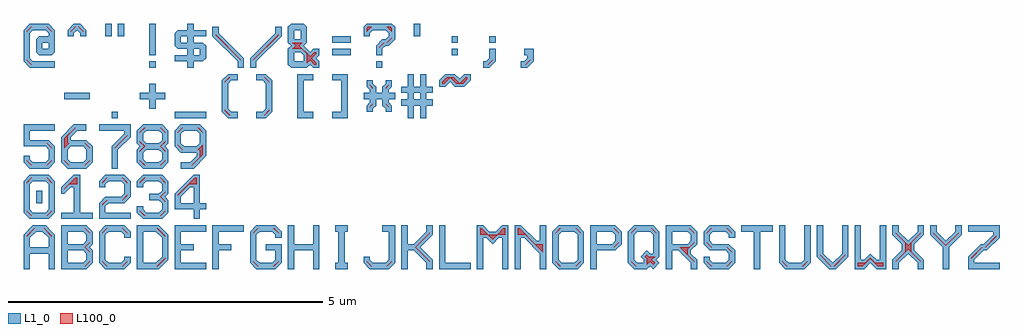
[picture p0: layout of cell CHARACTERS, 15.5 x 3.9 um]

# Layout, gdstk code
import gdstk
lib = gdstk.Library(unit=1e-6, precision=1e-09)
def R(c, l, rs):  # rectangles x0, y0, x1, y1
    for r in rs: c.add(gdstk.rectangle(r[:2], r[2:], *l))
def P(c, l, *ps):  # polygons
    for p in ps: c.add(gdstk.Polygon(p, *l))
L1_0 = (1, 0)
L100_0 = (100, 0)

c_0 = lib.new_cell('0')
R(c_0, L1_0, [(0.2,0.25,0.3,0.45)])
P(c_0, L1_0, [(0.1,0),(0,0.1),(0,0.6),(0.1,0.7),(0.4,0.7),(0.5,0.6),(0.15,0.6),(0.1,0.55),(0.1,0.15),(0.15,0.1),(0.35,0.1),(0.4,0.15),(0.4,0.55),(0.35,0.6),(0.5,0.6),(0.5,0.1),(0.4,0)])

c_8 = lib.new_cell('8')
P(c_8, L1_0, [(0.1,0),(0,0.1),(0,0.3),(0.05,0.35),(0,0.4),(0,0.6),(0.1,0.7),(0.4,0.7),(0.5,0.6),(0.15,0.6),(0.1,0.55),(0.1,0.45),(0.15,0.4),(0.35,0.4),(0.4,0.45),(0.4,0.55),(0.35,0.6),(0.5,0.6),(0.5,0.4),(0.45,0.35),(0.5,0.3),(0.15,0.3),(0.1,0.25),(0.1,0.15),(0.15,0.1),(0.35,0.1),(0.4,0.15),(0.4,0.25),(0.35,0.3),(0.5,0.3),(0.5,0.1),(0.4,0)])

c_5 = lib.new_cell('5')
P(c_5, L1_0, [(0.1,0),(0,0.1),(0,0.2),(0.1,0.2),(0.1,0.15),(0.15,0.1),(0.35,0.1),(0.4,0.15),(0.4,0.3),(0.35,0.35),(0,0.35),(0,0.7),(0.5,0.7),(0.5,0.6),(0.1,0.6),(0.1,0.45),(0.4,0.45),(0.5,0.35),(0.5,0.1),(0.4,0)])

c_2 = lib.new_cell('2')
P(c_2, L1_0, [(0,0),(0,0.25),(0.1,0.35),(0.35,0.35),(0.4,0.4),(0.4,0.55),(0.35,0.6),(0.15,0.6),(0.1,0.55),(0.1,0.5),(0,0.5),(0,0.6),(0.1,0.7),(0.4,0.7),(0.5,0.6),(0.5,0.35),(0.4,0.25),(0.15,0.25),(0.1,0.2),(0.1,0.1),(0.5,0.1),(0.5,0)])

c_y = lib.new_cell('Y')
P(c_y, L1_0, [(0.2,0),(0.2,0.35),(0,0.55),(0,0.7),(0.1,0.7),(0.1,0.6),(0.25,0.45),(0.4,0.6),(0.4,0.7),(0.5,0.7),(0.5,0.55),(0.3,0.35),(0.3,0)])

c_v = lib.new_cell('V')
P(c_v, L1_0, [(0.2,0),(0,0.2),(0,0.7),(0.1,0.7),(0.1,0.25),(0.25,0.1),(0.4,0.25),(0.4,0.7),(0.5,0.7),(0.5,0.2),(0.3,0)])

c_s = lib.new_cell('S')
P(c_s, L1_0, [(0.1,0),(0,0.1),(0,0.2),(0.1,0.2),(0.1,0.15),(0.15,0.1),(0.35,0.1),(0.4,0.15),(0.4,0.25),(0.35,0.3),(0.1,0.3),(0,0.4),(0,0.6),(0.1,0.7),(0.4,0.7),(0.5,0.6),(0.5,0.5),(0.4,0.5),(0.4,0.55),(0.35,0.6),(0.15,0.6),(0.1,0.55),(0.1,0.45),(0.15,0.4),(0.4,0.4),(0.5,0.3),(0.5,0.1),(0.4,0)])

c_p = lib.new_cell('P')
P(c_p, L1_0, [(0,0),(0,0.7),(0.4,0.7),(0.5,0.6),(0.5,0.4),(0.4,0.3),(0.1,0.3),(0.1,0.4),(0.35,0.4),(0.4,0.45),(0.4,0.55),(0.35,0.6),(0.1,0.6),(0.1,0)])

c_m = lib.new_cell('M')
P(c_m, L1_0, [(0,0),(0,0.7),(0.1,0.7),(0.2,0.6),(0.3,0.6),(0.4,0.7),(0.5,0.7),(0.5,0),(0.4,0),(0.4,0.5),(0.35,0.5),(0.25,0.4),(0.15,0.5),(0.1,0.5),(0.1,0)])

c_j = lib.new_cell('J')
P(c_j, L1_0, [(0.1,0),(0,0.1),(0,0.2),(0.1,0.2),(0.1,0.15),(0.15,0.1),(0.35,0.1),(0.4,0.15),(0.4,0.6),(0.3,0.6),(0.3,0.7),(0.5,0.7),(0.5,0.1),(0.4,0)])

c_c = lib.new_cell('C')
P(c_c, L1_0, [(0.1,0),(0,0.1),(0,0.6),(0.1,0.7),(0.4,0.7),(0.5,0.6),(0.5,0.5),(0.4,0.5),(0.4,0.55),(0.35,0.6),(0.15,0.6),(0.1,0.55),(0.1,0.15),(0.15,0.1),(0.35,0.1),(0.4,0.15),(0.4,0.2),(0.5,0.2),(0.5,0.1),(0.4,0)])

c_f = lib.new_cell('F')
P(c_f, L1_0, [(0,0),(0,0.7),(0.5,0.7),(0.5,0.6),(0.1,0.6),(0.1,0.4),(0.3,0.4),(0.3,0.3),(0.1,0.3),(0.1,0)])

c_i = lib.new_cell('I')
P(c_i, L1_0, [(0.15,0),(0.15,0.1),(0.2,0.1),(0.2,0.6),(0.15,0.6),(0.15,0.7),(0.35,0.7),(0.35,0.6),(0.3,0.6),(0.3,0.1),(0.35,0.1),(0.35,0)])

c_9 = lib.new_cell('9')
P(c_9, L1_0, [(0.1,0),(0.1,0.1),(0.25,0.1),(0.35,0.2),(0.35,0.25),(0.1,0.25),(0,0.35),(0.35,0.35),(0.4,0.4),(0.4,0.55),(0.35,0.6),(0.15,0.6),(0.1,0.55),(0.1,0.4),(0.15,0.35),(0,0.35),(0,0.6),(0.1,0.7),(0.4,0.7),(0.5,0.6),(0.5,0.2),(0.3,0)])

c_6 = lib.new_cell('6')
P(c_6, L1_0, [(0.1,0),(0,0.1),(0,0.5),(0.2,0.7),(0.4,0.7),(0.4,0.6),(0.25,0.6),(0.15,0.5),(0.15,0.45),(0.4,0.45),(0.5,0.35),(0.15,0.35),(0.1,0.3),(0.1,0.15),(0.15,0.1),(0.35,0.1),(0.4,0.15),(0.4,0.3),(0.35,0.35),(0.5,0.35),(0.5,0.1),(0.4,0)])

c_3 = lib.new_cell('3')
P(c_3, L1_0, [(0.1,0),(0,0.1),(0,0.2),(0.1,0.2),(0.1,0.15),(0.15,0.1),(0.35,0.1),(0.4,0.15),(0.4,0.25),(0.35,0.3),(0.2,0.3),(0.2,0.4),(0.35,0.4),(0.4,0.45),(0.4,0.55),(0.35,0.6),(0.15,0.6),(0.1,0.55),(0.1,0.5),(0,0.5),(0,0.6),(0.1,0.7),(0.4,0.7),(0.5,0.6),(0.5,0.4),(0.45,0.35),(0.5,0.3),(0.5,0.1),(0.4,0)])

c_z = lib.new_cell('Z')
P(c_z, L1_0, [(0,0),(0,0.2),(0.2,0.4),(0.25,0.4),(0.4,0.55),(0.4,0.6),(0,0.6),(0,0.7),(0.5,0.7),(0.5,0.5),(0.3,0.3),(0.25,0.3),(0.1,0.15),(0.1,0.1),(0.5,0.1),(0.5,0)])

c_w = lib.new_cell('W')
P(c_w, L1_0, [(0,0),(0,0.7),(0.1,0.7),(0.1,0.15),(0.15,0.15),(0.25,0.25),(0.35,0.15),(0.4,0.15),(0.4,0.7),(0.5,0.7),(0.5,0),(0.35,0),(0.25,0.1),(0.15,0)])

c_t = lib.new_cell('T')
P(c_t, L1_0, [(0.2,0),(0.2,0.6),(0,0.6),(0,0.7),(0.5,0.7),(0.5,0.6),(0.3,0.6),(0.3,0)])

c_q = lib.new_cell('Q')
P(c_q, L1_0, [(0.1,0),(0,0.1),(0,0.6),(0.1,0.7),(0.4,0.7),(0.5,0.6),(0.15,0.6),(0.1,0.55),(0.1,0.15),(0.15,0.1),(0.25,0.1),(0.25,0.15),(0.2,0.2),(0.3,0.3),(0.35,0.25),(0.4,0.25),(0.4,0.55),(0.35,0.6),(0.5,0.6),(0.5,0.2),(0.45,0.15),(0.5,0.1),(0.4,0),(0.35,0.05),(0.3,0)])

c_n = lib.new_cell('N')
P(c_n, L1_0, [(0,0),(0,0.7),(0.1,0.7),(0.35,0.45),(0.4,0.45),(0.4,0.7),(0.5,0.7),(0.5,0),(0.4,0),(0.4,0.25),(0.15,0.5),(0.1,0.5),(0.1,0)])

c_k = lib.new_cell('K')
P(c_k, L1_0, [(0,0),(0,0.7),(0.1,0.7),(0.1,0.4),(0.2,0.4),(0.4,0.6),(0.4,0.7),(0.5,0.7),(0.5,0.55),(0.3,0.35),(0.5,0.15),(0.5,0),(0.4,0),(0.4,0.1),(0.2,0.3),(0.1,0.3),(0.1,0)])

c_b = lib.new_cell('B')
P(c_b, L1_0, [(0,0),(0,0.7),(0.4,0.7),(0.5,0.6),(0.1,0.6),(0.1,0.4),(0.35,0.4),(0.4,0.45),(0.4,0.55),(0.35,0.6),(0.5,0.6),(0.5,0.4),(0.45,0.35),(0.5,0.3),(0.1,0.3),(0.1,0.1),(0.35,0.1),(0.4,0.15),(0.4,0.25),(0.35,0.3),(0.5,0.3),(0.5,0.1),(0.4,0)])

c_e = lib.new_cell('E')
P(c_e, L1_0, [(0,0),(0,0.7),(0.5,0.7),(0.5,0.6),(0.1,0.6),(0.1,0.4),(0.3,0.4),(0.3,0.3),(0.1,0.3),(0.1,0.1),(0.5,0.1),(0.5,0)])

c_h = lib.new_cell('H')
P(c_h, L1_0, [(0,0),(0,0.7),(0.1,0.7),(0.1,0.4),(0.4,0.4),(0.4,0.7),(0.5,0.7),(0.5,0),(0.4,0),(0.4,0.3),(0.1,0.3),(0.1,0)])

c_7 = lib.new_cell('7')
P(c_7, L1_0, [(0.2,0),(0.2,0.35),(0.4,0.55),(0.4,0.6),(0,0.6),(0,0.7),(0.5,0.7),(0.5,0.5),(0.3,0.3),(0.3,0)])

c_4 = lib.new_cell('4')
P(c_4, L1_0, [(0.3,0),(0.3,0.15),(0,0.15),(0,0.25),(0.3,0.25),(0.3,0.5),(0.25,0.5),(0.1,0.35),(0.1,0.25),(0,0.25),(0,0.4),(0.3,0.7),(0.4,0.7),(0.4,0.25),(0.5,0.25),(0.5,0.15),(0.4,0.15),(0.4,0)])

c_1 = lib.new_cell('1')
P(c_1, L1_0, [(0,0),(0,0.1),(0.2,0.1),(0.2,0.5),(0.15,0.5),(0.05,0.4),(0,0.4),(0,0.5),(0.2,0.7),(0.3,0.7),(0.3,0.1),(0.5,0.1),(0.5,0)])

c_x = lib.new_cell('X')
P(c_x, L1_0, [(0,0),(0,0.15),(0.15,0.3),(0.15,0.4),(0,0.55),(0,0.7),(0.1,0.7),(0.1,0.6),(0.25,0.45),(0.4,0.6),(0.4,0.7),(0.5,0.7),(0.5,0.55),(0.35,0.4),(0.35,0.3),(0.5,0.15),(0.5,0),(0.4,0),(0.4,0.1),(0.25,0.25),(0.1,0.1),(0.1,0)])

c_u = lib.new_cell('U')
P(c_u, L1_0, [(0.1,0),(0,0.1),(0,0.7),(0.1,0.7),(0.1,0.15),(0.15,0.1),(0.35,0.1),(0.4,0.15),(0.4,0.7),(0.5,0.7),(0.5,0.1),(0.4,0)])

c_r = lib.new_cell('R')
P(c_r, L1_0, [(0,0),(0,0.7),(0.4,0.7),(0.5,0.6),(0.1,0.6),(0.1,0.4),(0.35,0.4),(0.4,0.45),(0.4,0.55),(0.35,0.6),(0.5,0.6),(0.5,0.4),(0.4,0.3),(0.4,0.25),(0.5,0.15),(0.5,0),(0.4,0),(0.4,0.1),(0.2,0.3),(0.1,0.3),(0.1,0)])

c_o = lib.new_cell('O')
P(c_o, L1_0, [(0.1,0),(0,0.1),(0,0.6),(0.1,0.7),(0.4,0.7),(0.5,0.6),(0.5,0.35),(0.4,0.35),(0.4,0.55),(0.35,0.6),(0.15,0.6),(0.1,0.55),(0.1,0.15),(0.15,0.1),(0.35,0.1),(0.4,0.15),(0.4,0.35),(0.5,0.35),(0.5,0.1),(0.4,0)])

c_l = lib.new_cell('L')
P(c_l, L1_0, [(0,0),(0,0.7),(0.1,0.7),(0.1,0.1),(0.5,0.1),(0.5,0)])

c_a = lib.new_cell('A')
P(c_a, L1_0, [(0,0),(0,0.55),(0.15,0.7),(0.35,0.7),(0.45,0.6),(0.2,0.6),(0.1,0.5),(0.1,0.35),(0.4,0.35),(0.4,0.5),(0.3,0.6),(0.45,0.6),(0.5,0.55),(0.5,0),(0.4,0),(0.4,0.25),(0.1,0.25),(0.1,0)])

c_d = lib.new_cell('D')
P(c_d, L1_0, [(0,0),(0,0.7),(0.35,0.7),(0.45,0.6),(0.1,0.6),(0.1,0.1),(0.3,0.1),(0.4,0.2),(0.4,0.5),(0.3,0.6),(0.45,0.6),(0.5,0.55),(0.5,0.15),(0.35,0)])

c_g = lib.new_cell('G')
P(c_g, L1_0, [(0.1,0),(0,0.1),(0,0.6),(0.1,0.7),(0.4,0.7),(0.5,0.6),(0.5,0.5),(0.4,0.5),(0.4,0.55),(0.35,0.6),(0.15,0.6),(0.1,0.55),(0.1,0.15),(0.15,0.1),(0.35,0.1),(0.4,0.15),(0.4,0.3),(0.25,0.3),(0.25,0.4),(0.5,0.4),(0.5,0.1),(0.4,0)])

characters = lib.new_cell('CHARACTERS')
R(characters, L1_0, [(1.4,2.4,1.5,2.5), (2.4,2.4,2.9,2.5), (0.65,2.7,1.05,2.8), (2,3.2,2.1,3.3), (5.6,3.2,5.7,3.3), (2,3.4,2.1,3.9), (4.9,3.4,5.2,3.5), (6.8,3.4,6.9,3.5), (4.9,3.6,5.2,3.7), (6.8,3.6,6.9,3.7), (7.4,3.6,7.5,3.7), (1.3,3.7,1.4,3.9), (1.5,3.7,1.6,3.9), (6.2,3.7,6.3,3.9)])
P(characters, L1_0, [(3.6,3.2),(3.6,3.35),(4,3.75),(4,3.85),(4.1,3.85),(4.1,3.7),(3.7,3.3),(3.7,3.2)],
  [(6.1,2.4),(6.1,2.6),(6,2.6),(6,2.7),(6.1,2.7),(6.1,2.8),(6,2.8),(6,2.9),(6.1,2.9),(6.1,3.1),(6.2,3.1),(6.2,2.9),(6.3,2.9),(6.3,3.1),(6.4,3.1),(6.4,2.9),(6.5,2.9),(6.5,2.8),(6.4,2.8),(6.4,2.7),(6.5,2.7),(6.5,2.6),(6.4,2.6),(6.4,2.4),(6.3,2.4),(6.3,2.8),(6.2,2.8),(6.2,2.7),(6.3,2.7),(6.3,2.6),(6.2,2.6),(6.2,2.4)],
  [(7.9,3.2),(7.9,3.3),(7.95,3.3),(8,3.35),(8,3.4),(7.95,3.4),(7.95,3.5),(8.1,3.5),(8.1,3.3),(8,3.2)],
  [(6.6,2.9),(6.6,3),(6.7,3.1),(6.85,3.1),(6.925,3.025),(7,3.1),(7.1,3.1),(7.1,3),(7,2.9),(6.85,2.9),(6.775,2.975),(6.7,2.9)],
  [(3.4,3.2),(3.4,3.3),(3,3.7),(3,3.85),(3.1,3.85),(3.1,3.75),(3.5,3.35),(3.5,3.2)],
  [(5.6,3.4),(5.6,3.55),(5.7,3.65),(5.75,3.65),(5.8,3.7),(5.8,3.75),(5.75,3.8),(5.55,3.8),(5.5,3.75),(5.5,3.7),(5.4,3.7),(5.4,3.85),(5.45,3.9),(5.85,3.9),(5.9,3.85),(5.9,3.65),(5.8,3.55),(5.75,3.55),(5.7,3.5),(5.7,3.4)],
  [(5.45,2.5),(5.45,2.6),(5.5,2.65),(5.5,2.7),(5.4,2.7),(5.4,2.8),(5.5,2.8),(5.5,2.85),(5.45,2.9),(5.45,3),(5.55,3),(5.55,2.95),(5.6,2.9),(5.6,2.8),(5.7,2.8),(5.7,2.9),(5.75,2.95),(5.75,3),(5.85,3),(5.85,2.9),(5.8,2.85),(5.8,2.8),(5.9,2.8),(5.9,2.7),(5.8,2.7),(5.8,2.65),(5.85,2.6),(5.85,2.5),(5.75,2.5),(5.75,2.55),(5.7,2.6),(5.7,2.7),(5.6,2.7),(5.6,2.6),(5.55,2.55),(5.55,2.5)],
  [(2,2.55),(2,2.7),(1.85,2.7),(1.85,2.8),(2,2.8),(2,2.95),(2.1,2.95),(2.1,2.8),(2.25,2.8),(2.25,2.7),(2.1,2.7),(2.1,2.55)],
  [(4.25,3.2),(4.2,3.25),(4.2,3.5),(4.25,3.55),(4.2,3.6),(4.2,3.85),(4.25,3.9),(4.45,3.9),(4.5,3.85),(4.5,3.8),(4.3,3.8),(4.3,3.65),(4.4,3.65),(4.4,3.8),(4.5,3.8),(4.5,3.6),(4.45,3.55),(4.55,3.45),(4.6,3.5),(4.7,3.5),(4.7,3.45),(4.3,3.45),(4.3,3.3),(4.45,3.3),(4.45,3.4),(4.4,3.45),(4.7,3.45),(4.7,3.4),(4.65,3.35),(4.7,3.3),(4.7,3.2),(4.6,3.2),(4.55,3.25),(4.5,3.2)],
  [(2.6,3.2),(2.6,3.3),(2.4,3.3),(2.4,3.4),(2.6,3.4),(2.6,3.5),(2.45,3.5),(2.4,3.55),(2.4,3.75),(2.45,3.8),(2.6,3.8),(2.6,3.9),(2.7,3.9),(2.7,3.8),(2.9,3.8),(2.9,3.7),(2.5,3.7),(2.5,3.6),(2.6,3.6),(2.6,3.7),(2.7,3.7),(2.7,3.6),(2.85,3.6),(2.9,3.55),(2.9,3.5),(2.7,3.5),(2.7,3.4),(2.8,3.4),(2.8,3.5),(2.9,3.5),(2.9,3.35),(2.85,3.3),(2.7,3.3),(2.7,3.2)],
  [(0.7,3.7),(0.7,3.8),(0.8,3.9),(0.9,3.9),(1,3.8),(1,3.7),(0.9,3.7),(0.9,3.75),(0.85,3.8),(0.8,3.75),(0.8,3.7)],
  [(0.1,3.2),(0,3.3),(0,3.8),(0.1,3.9),(0.4,3.9),(0.5,3.8),(0.5,3.5),(0.4,3.5),(0.4,3.6),(0.3,3.6),(0.3,3.5),(0.5,3.5),(0.5,3.45),(0.45,3.4),(0.25,3.4),(0.2,3.45),(0.2,3.65),(0.25,3.7),(0.4,3.7),(0.4,3.75),(0.35,3.8),(0.15,3.8),(0.1,3.75),(0.1,3.35),(0.15,3.3),(0.5,3.3),(0.5,3.2)],
  [(7.3,3.2),(7.3,3.3),(7.35,3.3),(7.4,3.35),(7.4,3.5),(7.5,3.5),(7.5,3.3),(7.4,3.2)],
  [(3.25,2.4),(3.15,2.5),(3.15,3),(3.25,3.1),(3.4,3.1),(3.4,3),(3.3,3),(3.25,2.95),(3.25,2.55),(3.3,2.5),(3.4,2.5),(3.4,2.4)],
  [(4.9,2.4),(4.9,2.5),(5.05,2.5),(5.05,3),(4.9,3),(4.9,3.1),(5.15,3.1),(5.15,2.4)],
  [(3.7,2.4),(3.7,2.5),(3.8,2.5),(3.85,2.55),(3.85,2.95),(3.8,3),(3.7,3),(3.7,3.1),(3.85,3.1),(3.95,3),(3.95,2.5),(3.85,2.4)],
  [(4.35,2.4),(4.35,3.1),(4.6,3.1),(4.6,3),(4.45,3),(4.45,2.5),(4.6,2.5),(4.6,2.4)])
P(characters, L100_0, [(8.25,0.27),(7.97,0.55),(7.85,0.55),(7.85,0.65),(7.88,0.65),(8.13,0.4),(8.25,0.4)],
  [(5.85,3.77),(5.77,3.85),(5.83,3.85),(5.85,3.83)],
  [(4.62,3.25),(4.55,3.32),(4.5,3.27),(4.5,3.42),(4.42,3.5),(4.27,3.5),(4.32,3.55),(4.27,3.6),(4.43,3.6),(4.38,3.55),(4.55,3.38),(4.62,3.45),(4.65,3.45),(4.65,3.42),(4.58,3.35),(4.65,3.28),(4.65,3.25)],
  [(0.45,0.52),(0.32,0.65),(0.33,0.65),(0.45,0.53)],
  [(2.25,0.52),(2.12,0.65),(2.13,0.65),(2.25,0.53)],
  [(5.8,2.57),(5.75,2.62),(5.75,2.63),(5.8,2.58)],
  [(5.55,2.87),(5.5,2.92),(5.5,2.93),(5.55,2.88)],
  [(0.65,1.27),(0.65,1.28),(0.82,1.45),(0.85,1.45),(0.85,1.35),(0.73,1.35)],
  [(10.65,0.12),(10.42,0.35),(10.57,0.35),(10.65,0.43),(10.65,0.42),(10.55,0.32),(10.55,0.23),(10.65,0.13)],
  [(0.97,0.05),(1.05,0.13),(1.05,0.12),(0.98,0.05)],
  [(1.57,0.05),(1.65,0.13),(1.65,0.12),(1.58,0.05)],
  [(3.97,0.05),(4.05,0.13),(4.05,0.12),(3.98,0.05)],
  [(5.77,0.05),(5.85,0.13),(5.85,0.12),(5.78,0.05)],
  [(8.77,0.05),(8.85,0.13),(8.85,0.12),(8.78,0.05)],
  [(11.17,0.05),(11.25,0.13),(11.25,0.12),(11.18,0.05)],
  [(12.37,0.05),(12.45,0.13),(12.45,0.12),(12.38,0.05)],
  [(9.37,0.35),(9.45,0.43),(9.45,0.42),(9.38,0.35)],
  [(0.37,0.85),(0.45,0.93),(0.45,0.92),(0.38,0.85)],
  [(2.17,0.85),(2.25,0.93),(2.25,0.92),(2.18,0.85)],
  [(1.57,1.1),(1.65,1.18),(1.65,1.17),(1.58,1.1)],
  [(0.37,1.65),(0.45,1.73),(0.45,1.72),(0.38,1.65)],
  [(0.97,1.65),(1.05,1.73),(1.05,1.72),(0.98,1.65)],
  [(2.17,1.65),(2.25,1.73),(2.25,1.72),(2.18,1.65)],
  [(3.82,2.45),(3.9,2.53),(3.9,2.52),(3.83,2.45)],
  [(7.37,3.25),(7.45,3.33),(7.45,3.32),(7.38,3.25)],
  [(7.97,3.25),(8.05,3.33),(8.05,3.32),(7.98,3.25)],
  [(5.77,3.6),(5.85,3.68),(5.85,3.67),(5.78,3.6)],
  [(12.82,0.05),(12.65,0.22),(12.65,0.23),(12.83,0.05)],
  [(3.65,3.32),(3.65,3.33),(4.05,3.73),(4.05,3.72)],
  [(9.9,0.07),(9.9,0.17),(9.87,0.2),(9.9,0.23),(9.93,0.2),(10.03,0.2),(9.98,0.15),(10.03,0.1),(10,0.07),(9.95,0.12)],
  [(12.87,0.05),(13.05,0.23),(13.05,0.22),(12.88,0.05)],
  [(15.27,0.35),(15.45,0.53),(15.45,0.52),(15.28,0.35)],
  [(2.67,1.65),(2.8,1.78),(2.8,1.9),(2.77,1.9),(2.85,1.98),(2.85,1.82),(2.68,1.65)],
  [(6.65,2.95),(6.65,2.98),(6.72,3.05),(6.83,3.05),(6.925,2.955),(7.02,3.05),(7.05,3.05),(7.05,3.02),(6.98,2.95),(6.87,2.95),(6.775,3.045),(6.68,2.95)],
  [(5.5,2.57),(5.5,2.58),(5.55,2.63),(5.55,2.62)],
  [(5.75,2.87),(5.75,2.88),(5.8,2.93),(5.8,2.92)],
  [(15.05,0.17),(15.05,0.18),(15.22,0.35),(15.23,0.35)],
  [(1.45,1.92),(1.45,1.93),(1.65,2.13),(1.65,2.12)],
  [(0.05,0.52),(0.05,0.53),(0.17,0.65),(0.18,0.65)],
  [(2.12,0.05),(2.25,0.18),(2.25,0.17),(2.13,0.05)],
  [(13.85,0.12),(13.85,0.13),(14,0.28),(14,0.42),(13.85,0.57),(13.85,0.58),(14.05,0.38),(14.25,0.58),(14.25,0.57),(14.1,0.42),(14.1,0.28),(14.25,0.13),(14.25,0.12),(14.05,0.32)],
  [(1.05,0.27),(0.97,0.35),(1.05,0.43),(1.05,0.42),(0.98,0.35),(1.05,0.28)],
  [(2.25,1.07),(2.17,1.15),(2.25,1.23),(2.25,1.22),(2.18,1.15),(2.25,1.08)],
  [(2.25,1.87),(2.17,1.95),(2.25,2.03),(2.25,2.02),(2.18,1.95),(2.25,1.88)],
  [(1.25,0.57),(1.25,0.58),(1.32,0.65),(1.33,0.65)],
  [(3.65,0.57),(3.65,0.58),(3.72,0.65),(3.73,0.65)],
  [(8.45,0.57),(8.45,0.58),(8.52,0.65),(8.53,0.65)],
  [(9.65,0.57),(9.65,0.58),(9.72,0.65),(9.73,0.65)],
  [(10.85,0.57),(10.85,0.58),(10.92,0.65),(10.93,0.65)],
  [(1.25,1.02),(1.25,1.03),(1.32,1.1),(1.33,1.1)],
  [(0.05,1.37),(0.05,1.38),(0.12,1.45),(0.13,1.45)],
  [(1.25,1.37),(1.25,1.38),(1.32,1.45),(1.33,1.45)],
  [(1.85,1.37),(1.85,1.38),(1.92,1.45),(1.93,1.45)],
  [(1.85,2.17),(1.85,2.18),(1.92,2.25),(1.93,2.25)],
  [(2.45,2.17),(2.45,2.18),(2.52,2.25),(2.53,2.25)],
  [(3.2,2.97),(3.2,2.98),(3.27,3.05),(3.28,3.05)],
  [(5.65,3.52),(5.65,3.53),(5.72,3.6),(5.73,3.6)],
  [(0.05,3.77),(0.05,3.78),(0.12,3.85),(0.13,3.85)],
  [(0.75,3.77),(0.75,3.78),(0.82,3.85),(0.83,3.85)],
  [(11.25,0.27),(11.17,0.35),(11.18,0.35),(11.25,0.28)],
  [(1.05,0.57),(0.97,0.65),(0.98,0.65),(1.05,0.58)],
  [(1.65,0.57),(1.57,0.65),(1.58,0.65),(1.65,0.58)],
  [(4.05,0.57),(3.97,0.65),(3.98,0.65),(4.05,0.58)],
  [(8.85,0.57),(8.77,0.65),(8.78,0.65),(8.85,0.58)],
  [(9.45,0.57),(9.37,0.65),(9.38,0.65),(9.45,0.58)],
  [(10.05,0.57),(9.97,0.65),(9.98,0.65),(10.05,0.58)],
  [(10.65,0.57),(10.57,0.65),(10.58,0.65),(10.65,0.58)],
  [(11.25,0.57),(11.17,0.65),(11.18,0.65),(11.25,0.58)],
  [(0.45,1.37),(0.37,1.45),(0.38,1.45),(0.45,1.38)],
  [(1.65,1.37),(1.57,1.45),(1.58,1.45),(1.65,1.38)],
  [(2.25,1.37),(2.17,1.45),(2.18,1.45),(2.25,1.38)],
  [(0.45,1.92),(0.37,2),(0.38,2),(0.45,1.93)],
  [(1.05,1.92),(0.97,2),(0.98,2),(1.05,1.93)],
  [(2.25,2.17),(2.17,2.25),(2.18,2.25),(2.25,2.18)],
  [(2.85,2.17),(2.77,2.25),(2.78,2.25),(2.85,2.18)],
  [(3.9,2.97),(3.82,3.05),(3.83,3.05),(3.9,2.98)],
  [(0.45,3.77),(0.37,3.85),(0.38,3.85),(0.45,3.78)],
  [(0.95,3.77),(0.87,3.85),(0.88,3.85),(0.95,3.78)],
  [(2.45,1.17),(2.45,1.18),(2.72,1.45),(2.75,1.45),(2.75,1.35),(2.63,1.35)],
  [(6.45,0.12),(6.22,0.35),(6.45,0.58),(6.45,0.57),(6.23,0.35),(6.45,0.13)],
  [(13.25,0.05),(13.25,0.1),(13.37,0.1),(13.45,0.18),(13.53,0.1),(13.65,0.1),(13.65,0.05),(13.57,0.05),(13.45,0.17),(13.33,0.05)],
  [(5.45,3.77),(5.45,3.83),(5.47,3.85),(5.53,3.85)],
  [(14.65,0.37),(14.45,0.57),(14.45,0.58),(14.65,0.38),(14.85,0.58),(14.85,0.57)],
  [(7.45,0.47),(7.37,0.55),(7.25,0.55),(7.25,0.65),(7.28,0.65),(7.38,0.55),(7.52,0.55),(7.62,0.65),(7.65,0.65),(7.65,0.55),(7.53,0.55)],
  [(3.45,3.32),(3.05,3.72),(3.05,3.73),(3.45,3.33)],
  [(1.85,1.87),(1.85,1.88),(1.92,1.95),(1.85,2.02),(1.85,2.03),(1.93,1.95)],
  [(0.65,1.92),(0.65,2.08),(0.82,2.25),(0.83,2.25),(0.7,2.12),(0.7,2),(0.73,2)],
  [(1.32,0.05),(1.25,0.12),(1.25,0.13),(1.33,0.05)],
  [(3.72,0.05),(3.65,0.12),(3.65,0.13),(3.73,0.05)],
  [(5.52,0.05),(5.45,0.12),(5.45,0.13),(5.53,0.05)],
  [(8.52,0.05),(8.45,0.12),(8.45,0.13),(8.53,0.05)],
  [(9.72,0.05),(9.65,0.12),(9.65,0.13),(9.73,0.05)],
  [(10.92,0.05),(10.85,0.12),(10.85,0.13),(10.93,0.05)],
  [(12.12,0.05),(12.05,0.12),(12.05,0.13),(12.13,0.05)],
  [(10.92,0.35),(10.85,0.42),(10.85,0.43),(10.93,0.35)],
  [(0.12,0.85),(0.05,0.92),(0.05,0.93),(0.13,0.85)],
  [(1.92,0.85),(1.85,0.92),(1.85,0.93),(1.93,0.85)],
  [(0.12,1.65),(0.05,1.72),(0.05,1.73),(0.13,1.65)],
  [(0.72,1.65),(0.65,1.72),(0.65,1.73),(0.73,1.65)],
  [(1.92,1.65),(1.85,1.72),(1.85,1.73),(1.93,1.65)],
  [(2.52,1.9),(2.45,1.97),(2.45,1.98),(2.53,1.9)],
  [(3.27,2.45),(3.2,2.52),(3.2,2.53),(3.28,2.45)],
  [(0.12,3.25),(0.05,3.32),(0.05,3.33),(0.13,3.25)])
characters.add(gdstk.Reference(c_0, (0,0.8)))
characters.add(gdstk.Reference(c_8, (1.8,1.6)))
characters.add(gdstk.Reference(c_5, (0,1.6)))
characters.add(gdstk.Reference(c_2, (1.2,0.8)))
characters.add(gdstk.Reference(c_y, (14.4,0)))
characters.add(gdstk.Reference(c_v, (12.6,0)))
characters.add(gdstk.Reference(c_s, (10.8,0)))
characters.add(gdstk.Reference(c_p, (9,0)))
characters.add(gdstk.Reference(c_m, (7.2,0)))
characters.add(gdstk.Reference(c_j, (5.4,0)))
characters.add(gdstk.Reference(c_c, (1.2,0)))
characters.add(gdstk.Reference(c_f, (3,0)))
characters.add(gdstk.Reference(c_i, (4.8,0)))
characters.add(gdstk.Reference(c_9, (2.4,1.6)))
characters.add(gdstk.Reference(c_6, (0.6,1.6)))
characters.add(gdstk.Reference(c_3, (1.8,0.8)))
characters.add(gdstk.Reference(c_z, (15,0)))
characters.add(gdstk.Reference(c_w, (13.2,0)))
characters.add(gdstk.Reference(c_t, (11.4,0)))
characters.add(gdstk.Reference(c_q, (9.6,0)))
characters.add(gdstk.Reference(c_n, (7.8,0)))
characters.add(gdstk.Reference(c_k, (6,0)))
characters.add(gdstk.Reference(c_b, (0.6,0)))
characters.add(gdstk.Reference(c_e, (2.4,0)))
characters.add(gdstk.Reference(c_h, (4.2,0)))
characters.add(gdstk.Reference(c_7, (1.2,1.6)))
characters.add(gdstk.Reference(c_4, (2.4,0.8)))
characters.add(gdstk.Reference(c_1, (0.6,0.8)))
characters.add(gdstk.Reference(c_x, (13.8,0)))
characters.add(gdstk.Reference(c_u, (12,0)))
characters.add(gdstk.Reference(c_r, (10.2,0)))
characters.add(gdstk.Reference(c_o, (8.4,0)))
characters.add(gdstk.Reference(c_l, (6.6,0)))
characters.add(gdstk.Reference(c_a, (0,0)))
characters.add(gdstk.Reference(c_d, (1.8,0)))
characters.add(gdstk.Reference(c_g, (3.6,0)))

lib.write_gds('CHARACTERS.gds')
